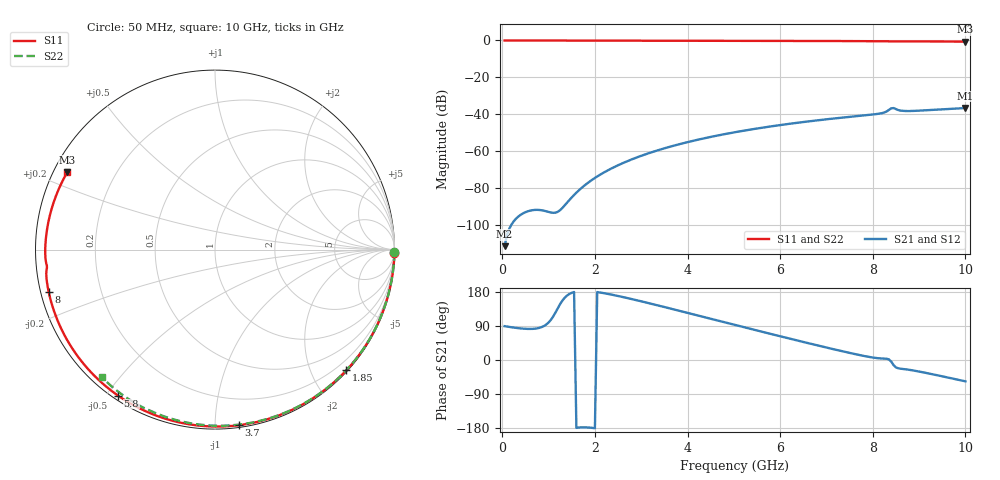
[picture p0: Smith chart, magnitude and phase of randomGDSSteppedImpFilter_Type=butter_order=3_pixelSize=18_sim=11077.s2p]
! freq	dB(S11)	phase(S11)	dB(S12)	phase(S12)
!  dB(S21)	phase(S21)	dB(S22)	phase(S22)
!S-par simulation data
#  GHz  S  DB  R 50
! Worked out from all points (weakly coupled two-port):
!   200 points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, 50 MHz to 10 GHz, reference 50 ohm
!   highest |S21| = -36.71 dB at 10 GHz (marker M1); lowest = -111.7 dB at 50 MHz (marker M2)
!   lowest |S11| = -0.6 dB at 10 GHz (marker M3), VSWR 27.32, Z = 1.94 + j12.3 ohm
!   |S11| at or under -10 dB: nowhere
!   |S22| runs from -0.4 to 0.0 dB; largest |S21 - S12| = 0
!   S11 on the Smith chart (normalised r, x): 50 MHz: 0, -97; 1.85 GHz: 0.02, -2.56; 3.7 GHz: 0.01, -1.14; 5.8 GHz: 0.02, -0.54; 8 GHz: 0.02, -0.12; 10 GHz: 0.04, +0.25
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0.05  -0.00 -1.2  -111.74 89.3  -111.74 89.3  -0.00 -0.8
0.85  -0.03 -19.8  -92.23 86.8  -92.23 86.8  -0.02 -12.8
1.7  -0.05 -39.2  -80.35 -177.8  -80.35 -177.8  -0.03 -25.5
1.75  -0.05 -40.4  -79.28 -177.6  -79.28 -177.6  -0.03 -26.2
1.85  -0.05 -42.6  -77.31 -178.0  -77.31 -178.0  -0.04 -27.7
2.15  -0.06 -49.3  -72.34 177.3  -72.34 177.3  -0.04 -32.1
2.5  -0.07 -56.9  -67.78 168.9  -67.78 168.9  -0.05 -37.1
2.9  -0.08 -65.5  -63.58 157.8  -63.58 157.8  -0.06 -42.9
3.4  -0.10 -76.1  -59.34 142.9  -59.34 142.9  -0.07 -49.9
3.7  -0.11 -82.3  -57.17 133.7  -57.17 133.7  -0.07 -54.1
4.35  -0.13 -95.4  -53.20 113.5  -53.20 113.5  -0.09 -62.9
5.05  -0.17 -109.2  -49.73 91.8  -49.73 91.8  -0.11 -72.2
5.8  -0.21 -123.6  -46.68 68.7  -46.68 68.7  -0.14 -81.9
6.7  -0.27 -140.7  -43.69 41.7  -43.69 41.7  -0.18 -93.1
7.35  -0.32 -153.1  -41.88 22.9  -41.88 22.9  -0.22 -101.0
8  -0.39 -165.8  -40.22 6.5  -40.22 6.5  -0.26 -108.6
8.2  -0.42 -169.8  -39.46 3.9  -39.46 3.9  -0.28 -111.0
8.35  -0.48 -172.9  -37.72 1.5  -37.72 1.5  -0.29 -112.6
8.45  -0.53 -174.5  -36.73 -13.6  -36.73 -13.6  -0.29 -113.8
8.65  -0.48 -178.4  -38.25 -23.6  -38.25 -23.6  -0.31 -116.1
9.15  -0.53 171.1  -37.92 -34.1  -37.92 -34.1  -0.35 -121.9
10  -0.64 152.4  -36.71 -56.3  -36.71 -56.3  -0.44 -131.5
